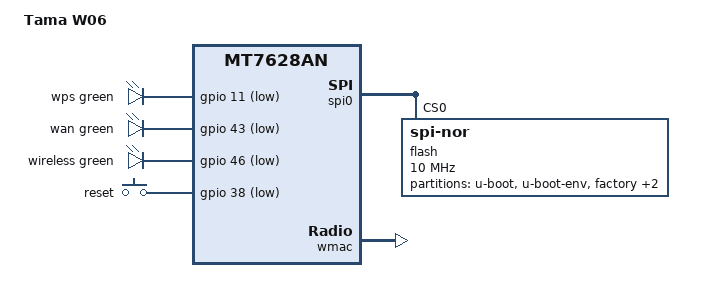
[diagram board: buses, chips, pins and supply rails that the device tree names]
#include "mt7628an.dtsi"

#include <dt-bindings/gpio/gpio.h>
#include <dt-bindings/input/input.h>
#include <dt-bindings/leds/common.h>

/ {
	compatible = "tama,w06", "mediatek,mt7628an-soc";
	model = "Tama W06";

	leds {
		compatible = "gpio-leds";

		wps {
			function = LED_FUNCTION_WPS;
			color = <LED_COLOR_ID_GREEN>;
			gpios = <&gpio 11 GPIO_ACTIVE_LOW>;
		};

		wan {
			function = LED_FUNCTION_WAN;
			color = <LED_COLOR_ID_GREEN>;
			gpios = <&gpio 43 GPIO_ACTIVE_LOW>;
		};

		wireless {
			function = LED_FUNCTION_WLAN;
			color = <LED_COLOR_ID_GREEN>;
			gpios = <&gpio 46 GPIO_ACTIVE_LOW>;
		};
	};

	keys {
		compatible = "gpio-keys";

		reset {
			label = "reset";
			gpios = <&gpio 38 GPIO_ACTIVE_LOW>;
			linux,code = <KEY_RESTART>;
		};
	};
};

&ethernet {
	nvmem-cells = <&macaddr_factory_28>;
	nvmem-cell-names = "mac-address";
};

&state_default {
	gpio {
		groups = "uart1", "p0led_an", "wdt";
		function = "gpio";
	};
};

&spi0 {
	status = "okay";

	flash@0 {
		compatible = "jedec,spi-nor";
		reg = <0>;
		spi-max-frequency = <10000000>;

		partitions {
			compatible = "fixed-partitions";
			#address-cells = <1>;
			#size-cells = <1>;

			partition@0 {
				label = "u-boot";
				reg = <0x0 0x30000>;
				read-only;
			};

			partition@30000 {
				label = "u-boot-env";
				reg = <0x30000 0x10000>;
				read-only;
			};

			partition@40000 {
				label = "factory";
				reg = <0x40000 0x10000>;
				read-only;

				nvmem-layout {
					compatible = "fixed-layout";
					#address-cells = <1>;
					#size-cells = <1>;

					eeprom_factory_0: eeprom@0 {
						reg = <0x0 0x400>;
					};

					macaddr_factory_28: macaddr@28 {
						reg = <0x28 0x6>;
					};
				};
			};

			partition@50000 {
				compatible = "denx,uimage";
				label = "firmware";
				reg = <0x50000 0xeb0000>;
			};

			partition@f00000 {
				label = "user-data";
				reg = <0xf00000 0x100000>;
				read-only;
			};
		};
	};
};

&wmac {
	status = "okay";

	nvmem-cells = <&eeprom_factory_0>;
	nvmem-cell-names = "eeprom";
};
